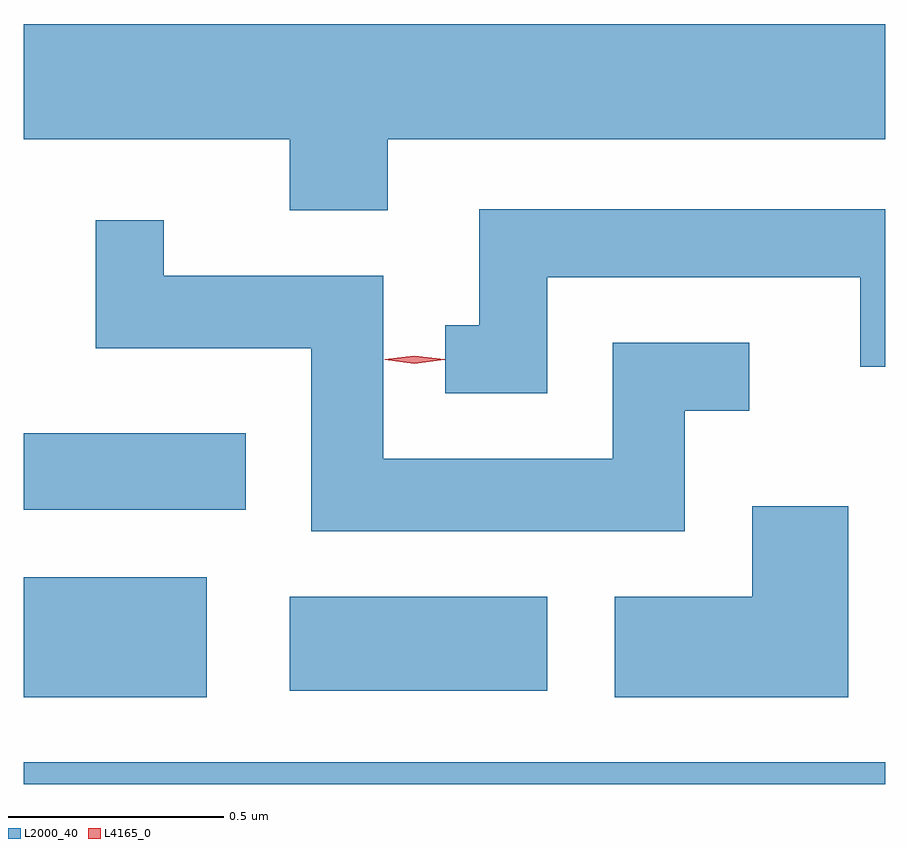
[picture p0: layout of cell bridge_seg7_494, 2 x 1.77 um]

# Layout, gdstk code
import gdstk
lib = gdstk.Library(unit=1e-6, precision=1e-09)
def R(c, l, rs):  # rectangles x0, y0, x1, y1
    for r in rs: c.add(gdstk.rectangle(r[:2], r[2:], *l))
def P(c, l, *ps):  # polygons
    for p in ps: c.add(gdstk.Polygon(p, *l))
L2000_40 = (2000, 40)
L4165_0 = (4165, 0)

bridge_seg7_494 = lib.new_cell('bridge_seg7_494')
R(bridge_seg7_494, L2000_40, [(1450.434,1708.379,1452.434,1708.429), (1450.434,1708.581,1450.859,1708.859), (1451.051,1708.596,1451.649,1708.814), (1450.434,1709.016,1450.949,1709.194)])
P(bridge_seg7_494, L2000_40, [(1451.279,1709.876),(1452.434,1709.876),(1452.434,1710.144),(1450.434,1710.144),(1450.434,1709.876),(1451.051,1709.876),(1451.051,1709.711),(1451.279,1709.711)],
  [(1451.649,1709.556),(1452.376,1709.556),(1452.376,1709.348),(1452.434,1709.348),(1452.434,1709.714),(1451.491,1709.714),(1451.491,1709.444),(1451.413,1709.444),(1451.413,1709.286),(1451.649,1709.286)],
  [(1451.969,1709.246),(1452.118,1709.246),(1452.118,1709.404),(1451.801,1709.404),(1451.801,1709.134),(1451.269,1709.134),(1451.269,1709.559),(1450.759,1709.559),(1450.759,1709.688),(1450.601,1709.688),(1450.601,1709.391),(1451.101,1709.391),(1451.101,1708.966),(1451.969,1708.966)],
  [(1452.349,1709.024),(1452.126,1709.024),(1452.126,1708.814),(1451.806,1708.814),(1451.806,1708.581),(1452.349,1708.581)])
P(bridge_seg7_494, L4165_0, [(1451.341,1709.355),(1451.272,1709.364),(1451.272,1709.364),(1451.272,1709.365),(1451.341,1709.374),(1451.411,1709.366),(1451.411,1709.365),(1451.411,1709.364)])

lib.write_gds('bridge_seg7_494.gds')
